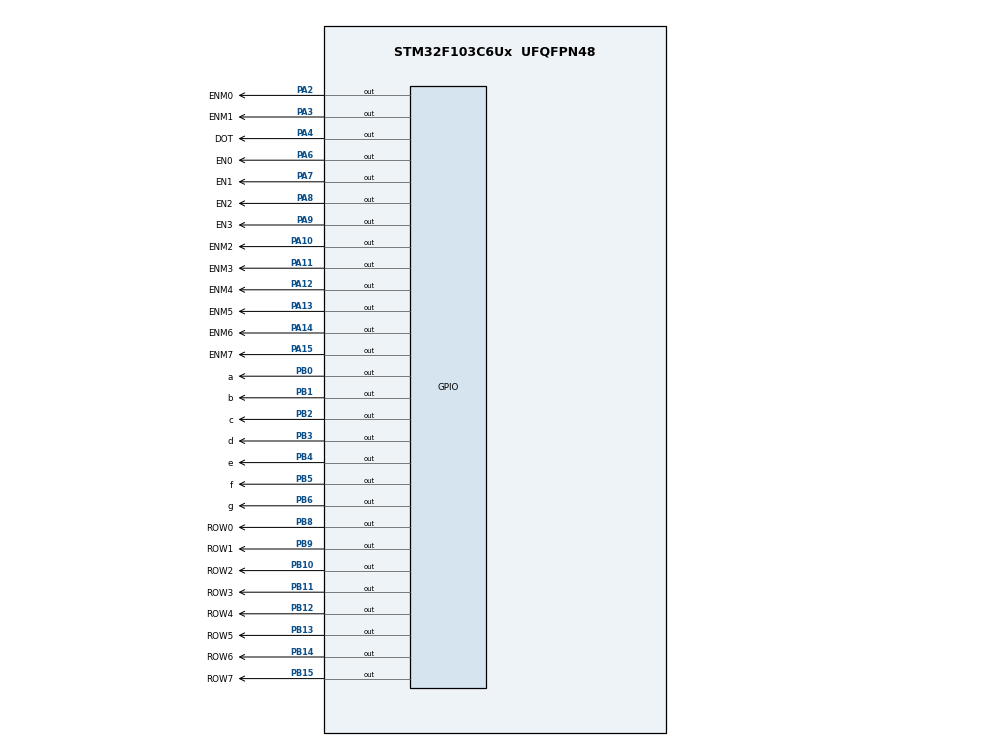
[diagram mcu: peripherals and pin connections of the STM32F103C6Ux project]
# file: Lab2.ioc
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Mcu.Family=STM32F1
Mcu.Name=STM32F103C6Ux
Mcu.Package=UFQFPN48
NVIC.PriorityGroup=NVIC_PRIORITYGROUP_4
NVIC.TIM2_IRQn=true\:0\:0\:false\:false\:true\:true\:true
PA10.GPIO_Label=ENM2
PA10.Signal=GPIO_Output
PA11.GPIO_Label=ENM3
PA11.Signal=GPIO_Output
PA12.GPIO_Label=ENM4
PA12.Signal=GPIO_Output
PA13.GPIO_Label=ENM5
PA13.Signal=GPIO_Output
PA14.GPIO_Label=ENM6
PA14.Signal=GPIO_Output
PA15.GPIO_Label=ENM7
PA15.Signal=GPIO_Output
PA2.GPIO_Label=ENM0
PA2.Signal=GPIO_Output
PA3.GPIO_Label=ENM1
PA3.Signal=GPIO_Output
PA4.GPIO_Label=DOT
PA4.Signal=GPIO_Output
PA6.GPIO_Label=EN0
PA6.Signal=GPIO_Output
PA7.GPIO_Label=EN1
PA7.Signal=GPIO_Output
PA8.GPIO_Label=EN2
PA8.Signal=GPIO_Output
PA9.GPIO_Label=EN3
PA9.Signal=GPIO_Output
PB0.GPIO_Label=a
PB0.Signal=GPIO_Output
PB1.GPIO_Label=b
PB1.Signal=GPIO_Output
PB10.GPIO_Label=ROW2
PB10.Signal=GPIO_Output
PB11.GPIO_Label=ROW3
PB11.Signal=GPIO_Output
PB12.GPIO_Label=ROW4
PB12.Signal=GPIO_Output
PB13.GPIO_Label=ROW5
PB13.Signal=GPIO_Output
PB14.GPIO_Label=ROW6
PB14.Signal=GPIO_Output
PB15.GPIO_Label=ROW7
PB15.Signal=GPIO_Output
PB2.GPIO_Label=c
PB2.Signal=GPIO_Output
PB3.GPIO_Label=d
PB3.Signal=GPIO_Output
PB4.GPIO_Label=e
PB4.Signal=GPIO_Output
PB5.GPIO_Label=f
PB5.Signal=GPIO_Output
PB6.GPIO_Label=g
PB6.Signal=GPIO_Output
PB8.GPIO_Label=ROW0
PB8.Signal=GPIO_Output
PB9.GPIO_Label=ROW1
PB9.Signal=GPIO_Output
ProjectManager.HeapSize=0x200
ProjectManager.StackSize=0x400
ProjectManager.TargetToolchain=STM32CubeIDE
RCC.APB1Freq_Value=8000000
RCC.APB2Freq_Value=8000000
TIM2.Period=9
TIM2.Prescaler=7999
VP_SYS_VS_ND.Mode=No_Debug
VP_TIM2_VS_ClockSourceINT.Mode=Internal
board=custom

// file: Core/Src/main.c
/* USER CODE BEGIN Header */
/**
  ******************************************************************************
  * @file           : main.c
  * @brief          : Main program body
  ******************************************************************************
  * @attention
  *
  * <h2><center>&copy; Copyright (c) 2023 STMicroelectronics.
  * All rights reserved.</center></h2>
  *
  * This software component is licensed by ST under BSD 3-Clause license,
  * the "License"; You may not use this file except in compliance with the
  * License. You may obtain a copy of the License at:
  *                        opensource.org/licenses/BSD-3-Clause
  *
  ******************************************************************************
  */
/* USER CODE END Header */
#include "main.h"

/* USER CODE BEGIN Includes */
#include "software_timer.h"
/* USER CODE END Includes */

TIM_HandleTypeDef htim2;

void SystemClock_Config(void);
static void MX_TIM2_Init(void);
static void MX_GPIO_Init(void);

/* USER CODE BEGIN 0 */
void display7SEG(int num){
	switch(num){
	case 0:
		HAL_GPIO_WritePin(a_GPIO_Port, a_Pin, RESET);
		HAL_GPIO_WritePin(b_GPIO_Port, b_Pin, RESET);
		HAL_GPIO_WritePin(c_GPIO_Port, c_Pin, RESET);
		HAL_GPIO_WritePin(d_GPIO_Port, d_Pin, RESET);
		HAL_GPIO_WritePin(e_GPIO_Port, e_Pin, RESET);
		HAL_GPIO_WritePin(f_GPIO_Port, f_Pin, RESET);
		HAL_GPIO_WritePin(g_GPIO_Port, g_Pin, SET);
		break;
	case 1:
		HAL_GPIO_WritePin(a_GPIO_Port, a_Pin, SET);
		HAL_GPIO_WritePin(b_GPIO_Port, b_Pin, RESET);
		HAL_GPIO_WritePin(c_GPIO_Port, c_Pin, RESET);
		HAL_GPIO_WritePin(d_GPIO_Port, d_Pin, SET);
		HAL_GPIO_WritePin(e_GPIO_Port, e_Pin, SET);
		HAL_GPIO_WritePin(f_GPIO_Port, f_Pin, SET);
		HAL_GPIO_WritePin(g_GPIO_Port, g_Pin, SET);
		break;
	case 2:
		HAL_GPIO_WritePin(a_GPIO_Port, a_Pin, RESET);
		HAL_GPIO_WritePin(b_GPIO_Port, b_Pin, RESET);
		HAL_GPIO_WritePin(c_GPIO_Port, c_Pin, SET);
		HAL_GPIO_WritePin(d_GPIO_Port, d_Pin, RESET);
		HAL_GPIO_WritePin(e_GPIO_Port, e_Pin, RESET);
		HAL_GPIO_WritePin(f_GPIO_Port, f_Pin, SET);
		HAL_GPIO_WritePin(g_GPIO_Port, g_Pin, RESET);
		break;
	case 3:
		HAL_GPIO_WritePin(a_GPIO_Port, a_Pin, RESET);
		HAL_GPIO_WritePin(b_GPIO_Port, b_Pin, RESET);
		HAL_GPIO_WritePin(c_GPIO_Port, c_Pin, RESET);
		HAL_GPIO_WritePin(d_GPIO_Port, d_Pin, RESET);
		HAL_GPIO_WritePin(e_GPIO_Port, e_Pin, SET);
		HAL_GPIO_WritePin(f_GPIO_Port, f_Pin, SET);
		HAL_GPIO_WritePin(g_GPIO_Port, g_Pin, RESET);
		break;
	case 4:
		HAL_GPIO_WritePin(a_GPIO_Port, a_Pin, SET);
		HAL_GPIO_WritePin(b_GPIO_Port, b_Pin, RESET);
		HAL_GPIO_WritePin(c_GPIO_Port, c_Pin, RESET);
		HAL_GPIO_WritePin(d_GPIO_Port, d_Pin, SET);
		HAL_GPIO_WritePin(e_GPIO_Port, e_Pin, SET);
		HAL_GPIO_WritePin(f_GPIO_Port, f_Pin, RESET);
		HAL_GPIO_WritePin(g_GPIO_Port, g_Pin, RESET);
		break;
	case 5:
		HAL_GPIO_WritePin(a_GPIO_Port, a_Pin, RESET);
		HAL_GPIO_WritePin(b_GPIO_Port, b_Pin, SET);
		HAL_GPIO_WritePin(c_GPIO_Port, c_Pin, RESET);
		HAL_GPIO_WritePin(d_GPIO_Port, d_Pin, RESET);
		HAL_GPIO_WritePin(e_GPIO_Port, e_Pin, SET);
		HAL_GPIO_WritePin(f_GPIO_Port, f_Pin, RESET);
		HAL_GPIO_WritePin(g_GPIO_Port, g_Pin, RESET);
		break;
	case 6:
		HAL_GPIO_WritePin(a_GPIO_Port, a_Pin, RESET);
		HAL_GPIO_WritePin(b_GPIO_Port, b_Pin, SET);
		HAL_GPIO_WritePin(c_GPIO_Port, c_Pin, RESET);
		HAL_GPIO_WritePin(d_GPIO_Port, d_Pin, RESET);
		HAL_GPIO_WritePin(e_GPIO_Port, e_Pin, RESET);
		HAL_GPIO_WritePin(f_GPIO_Port, f_Pin, RESET);
		HAL_GPIO_WritePin(g_GPIO_Port, g_Pin, RESET);
		break;
	case 7:
		HAL_GPIO_WritePin(a_GPIO_Port, a_Pin, RESET);
		HAL_GPIO_WritePin(b_GPIO_Port, b_Pin, RESET);
		HAL_GPIO_WritePin(c_GPIO_Port, c_Pin, RESET);
		HAL_GPIO_WritePin(d_GPIO_Port, d_Pin, SET);
		HAL_GPIO_WritePin(e_GPIO_Port, e_Pin, SET);
		HAL_GPIO_WritePin(f_GPIO_Port, f_Pin, SET);
		HAL_GPIO_WritePin(g_GPIO_Port, g_Pin, SET);
		break;
	case 8:
		HAL_GPIO_WritePin(a_GPIO_Port, a_Pin, RESET);
		HAL_GPIO_WritePin(b_GPIO_Port, b_Pin, RESET);
		HAL_GPIO_WritePin(c_GPIO_Port, c_Pin, RESET);
		HAL_GPIO_WritePin(d_GPIO_Port, d_Pin, RESET);
		HAL_GPIO_WritePin(e_GPIO_Port, e_Pin, RESET);
		HAL_GPIO_WritePin(f_GPIO_Port, f_Pin, RESET);
		HAL_GPIO_WritePin(g_GPIO_Port, g_Pin, RESET);
		break;
	case 9:
		HAL_GPIO_WritePin(a_GPIO_Port, a_Pin, RESET);
		HAL_GPIO_WritePin(b_GPIO_Port, b_Pin, RESET);
		HAL_GPIO_WritePin(c_GPIO_Port, c_Pin, RESET);
		HAL_GPIO_WritePin(d_GPIO_Port, d_Pin, RESET);
		HAL_GPIO_WritePin(e_GPIO_Port, e_Pin, SET);
		HAL_GPIO_WritePin(f_GPIO_Port, f_Pin, RESET);
		HAL_GPIO_WritePin(g_GPIO_Port, g_Pin, RESET);
		break;
	default:
		break;
	}
}

// clock information
//ex5, 6, 7
int hour = 15, minute = 8, second = 50;
void updateClockBuffer();

//update 7 SEG function prototype
//ex3, 4, 5, 6, 7
const int MAX_LED = 4;
int index_led = 0;
int led_buffer[4] = {1, 2, 3, 4};
void update7SEG(int);

//update led matrix function prototype
// ex9
const int MAX_LED_MATRIX = 8;
int index_led_matrix = 0;
uint8_t matrix_buffer[8] = {0xff, 0xc0, 0x80, 0x37, 0x37, 0x80,
		0xc0, 0xff};
void updateLEDMatrix(int);

// binaryArr is used for record binary code of all
// element in matrix_buffer
// the last bit (binaryArr[element_matrix_buffer][8]) is to
//check that the element of matrix buffer is whether be
//converted to binary or not ?
uint8_t binaryArr[8][9];

void InitbinaryArr();
void toBinary(uint8_t, int);
void setLedMatrix(int);

// variable for ex10
int shift_distance = 0;

/* USER CODE END 0 */

int main(void)
{

  /* MCU Configuration--------------------------------------------------------*/

  /* Reset of all peripherals, Initializes the Flash interface and the Systick. */
  HAL_Init();

  /* Configure the system clock */
  SystemClock_Config();

  /* Initialize all configured peripherals */
  MX_TIM2_Init();
  MX_GPIO_Init();
  /* USER CODE BEGIN 2 */
  HAL_TIM_Base_Start_IT(&htim2);

  setTimer0(1000);
  setTimer1(250);
  /* USER CODE END 2 */
  InitbinaryArr();
  /* Infinite loop */
  while (1)
  {
	  if(timer0_flag == 1){
		  setTimer0(1000);
		  second++;
		  if(second >= 60){
			  second = 0;
			  minute++;
		  }

		  if(minute >= 60){
			  minute = 0;
			  hour++;
		  }

		  if(hour >= 24){
			  hour = 0;
		  }
		  updateClockBuffer();

		  // represent four 7seg led
		  if(index_led >= MAX_LED) index_led = 0;
		  update7SEG(index_led++);

		  // toggle dot led
		  HAL_GPIO_TogglePin(DOT_GPIO_Port, DOT_Pin);
	  }

	  if(timer1_flag == 1){
		  setTimer1(250);
		  // show led matrix
		  if(index_led_matrix >= 8) index_led_matrix = 0;
		  updateLEDMatrix(index_led_matrix++);
	  }
  }
}

void SystemClock_Config(void)
{
  RCC_OscInitTypeDef RCC_OscInitStruct = {0};
  RCC_ClkInitTypeDef RCC_ClkInitStruct = {0};

  /** Initializes the RCC Oscillators according to the specified parameters
  * in the RCC_OscInitTypeDef structure.
  */
  RCC_OscInitStruct.OscillatorType = RCC_OSCILLATORTYPE_HSI;
  RCC_OscInitStruct.HSIState = RCC_HSI_ON;
  RCC_OscInitStruct.HSICalibrationValue = RCC_HSICALIBRATION_DEFAULT;
  RCC_OscInitStruct.PLL.PLLState = RCC_PLL_NONE;
  if (HAL_RCC_OscConfig(&RCC_OscInitStruct) != HAL_OK)
  {
    Error_Handler();
  }
  /** Initializes the CPU, AHB and APB buses clocks
  */
  RCC_ClkInitStruct.ClockType = RCC_CLOCKTYPE_HCLK|RCC_CLOCKTYPE_SYSCLK
                              |RCC_CLOCKTYPE_PCLK1|RCC_CLOCKTYPE_PCLK2;
  RCC_ClkInitStruct.SYSCLKSource = RCC_SYSCLKSOURCE_HSI;
  RCC_ClkInitStruct.AHBCLKDivider = RCC_SYSCLK_DIV1;
  RCC_ClkInitStruct.APB1CLKDivider = RCC_HCLK_DIV1;
  RCC_ClkInitStruct.APB2CLKDivider = RCC_HCLK_DIV1;

  if (HAL_RCC_ClockConfig(&RCC_ClkInitStruct, FLASH_LATENCY_0) != HAL_OK)
  {
    Error_Handler();
  }
}

static void MX_TIM2_Init(void)
{

  TIM_ClockConfigTypeDef sClockSourceConfig = {0};
  TIM_MasterConfigTypeDef sMasterConfig = {0};

  htim2.Instance = TIM2;
  htim2.Init.Prescaler = 7999;
  htim2.Init.CounterMode = TIM_COUNTERMODE_UP;
  htim2.Init.Period = 9;
  htim2.Init.ClockDivision = TIM_CLOCKDIVISION_DIV1;
  htim2.Init.AutoReloadPreload = TIM_AUTORELOAD_PRELOAD_DISABLE;
  if (HAL_TIM_Base_Init(&htim2) != HAL_OK)
  {
    Error_Handler();
  }
  sClockSourceConfig.ClockSource = TIM_CLOCKSOURCE_INTERNAL;
  if (HAL_TIM_ConfigClockSource(&htim2, &sClockSourceConfig) != HAL_OK)
  {
    Error_Handler();
  }
  sMasterConfig.MasterOutputTrigger = TIM_TRGO_RESET;
  sMasterConfig.MasterSlaveMode = TIM_MASTERSLAVEMODE_DISABLE;
  if (HAL_TIMEx_MasterConfigSynchronization(&htim2, &sMasterConfig) != HAL_OK)
  {
    Error_Handler();
  }

}

static void MX_GPIO_Init(void)
{
  GPIO_InitTypeDef GPIO_InitStruct = {0};

  /* GPIO Ports Clock Enable */
  __HAL_RCC_GPIOA_CLK_ENABLE();
  __HAL_RCC_GPIOB_CLK_ENABLE();

  /*Configure GPIO pin Output Level */
  HAL_GPIO_WritePin(GPIOA, ENM0_Pin|ENM1_Pin|DOT_Pin|EN0_Pin
                          |EN1_Pin|EN2_Pin|EN3_Pin|ENM2_Pin
                          |ENM3_Pin|ENM4_Pin|ENM5_Pin|ENM6_Pin
                          |ENM7_Pin, GPIO_PIN_SET);

  /*Configure GPIO pin Output Level */
  HAL_GPIO_WritePin(GPIOB, a_Pin|b_Pin|c_Pin|ROW2_Pin
                          |ROW3_Pin|ROW4_Pin|ROW5_Pin|ROW6_Pin
                          |ROW7_Pin|d_Pin|e_Pin|f_Pin
                          |g_Pin|ROW0_Pin|ROW1_Pin, GPIO_PIN_RESET);

  /*Configure GPIO pins : ENM0_Pin ENM1_Pin DOT_Pin EN0_Pin
                           EN1_Pin EN2_Pin EN3_Pin ENM2_Pin
                           ENM3_Pin ENM4_Pin ENM5_Pin ENM6_Pin
                           ENM7_Pin */
  GPIO_InitStruct.Pin = ENM0_Pin|ENM1_Pin|DOT_Pin|EN0_Pin
                          |EN1_Pin|EN2_Pin|EN3_Pin|ENM2_Pin
                          |ENM3_Pin|ENM4_Pin|ENM5_Pin|ENM6_Pin
                          |ENM7_Pin;
  GPIO_InitStruct.Mode = GPIO_MODE_OUTPUT_PP;
  GPIO_InitStruct.Pull = GPIO_NOPULL;
  GPIO_InitStruct.Speed = GPIO_SPEED_FREQ_LOW;
  HAL_GPIO_Init(GPIOA, &GPIO_InitStruct);

  /*Configure GPIO pins : a_Pin b_Pin c_Pin ROW2_Pin
                           ROW3_Pin ROW4_Pin ROW5_Pin ROW6_Pin
                           ROW7_Pin d_Pin e_Pin f_Pin
                           g_Pin ROW0_Pin ROW1_Pin */
  GPIO_InitStruct.Pin = a_Pin|b_Pin|c_Pin|ROW2_Pin
                          |ROW3_Pin|ROW4_Pin|ROW5_Pin|ROW6_Pin
                          |ROW7_Pin|d_Pin|e_Pin|f_Pin
                          |g_Pin|ROW0_Pin|ROW1_Pin;
  GPIO_InitStruct.Mode = GPIO_MODE_OUTPUT_PP;
  GPIO_InitStruct.Pull = GPIO_NOPULL;
  GPIO_InitStruct.Speed = GPIO_SPEED_FREQ_LOW;
  HAL_GPIO_Init(GPIOB, &GPIO_InitStruct);

}

/* USER CODE BEGIN 4 */

// define update7SEG function
void update7SEG(int index){
	switch(index){
	case 0:
		HAL_GPIO_WritePin(EN0_GPIO_Port, EN0_Pin, RESET);
		HAL_GPIO_WritePin(EN1_GPIO_Port, EN1_Pin, SET);
		HAL_GPIO_WritePin(EN2_GPIO_Port, EN2_Pin, SET);
		HAL_GPIO_WritePin(EN3_GPIO_Port, EN3_Pin, SET);
		display7SEG(led_buffer[0]);
		break;
	case 1:
		HAL_GPIO_WritePin(EN0_GPIO_Port, EN0_Pin, SET);
		HAL_GPIO_WritePin(EN1_GPIO_Port, EN1_Pin, RESET);
		HAL_GPIO_WritePin(EN2_GPIO_Port, EN2_Pin, SET);
		HAL_GPIO_WritePin(EN3_GPIO_Port, EN3_Pin, SET);
		display7SEG(led_buffer[1]);
		break;
	case 2:
		HAL_GPIO_WritePin(EN0_GPIO_Port, EN0_Pin, SET);
		HAL_GPIO_WritePin(EN1_GPIO_Port, EN1_Pin, SET);
		HAL_GPIO_WritePin(EN2_GPIO_Port, EN2_Pin, RESET);
		HAL_GPIO_WritePin(EN3_GPIO_Port, EN3_Pin, SET);
		display7SEG(led_buffer[2]);
		break;
	case 3:
		HAL_GPIO_WritePin(EN0_GPIO_Port, EN0_Pin, SET);
		HAL_GPIO_WritePin(EN1_GPIO_Port, EN1_Pin, SET);
		HAL_GPIO_WritePin(EN2_GPIO_Port, EN2_Pin, SET);
		HAL_GPIO_WritePin(EN3_GPIO_Port, EN3_Pin, RESET);
		display7SEG(led_buffer[3]);
		break;
	default:
		break;
	}
}

// define update clock buffer
void updateClockBuffer(){
	led_buffer[0] = hour / 10;
	led_buffer[1] = hour % 10;
	led_buffer[2] = minute / 10;
	led_buffer[3] = minute % 10;
}

// define Init binary array function
void InitbinaryArr(){
	int col = 8, row = 9;
	for(int i = 0; i < col; i++){
		for(int j = 0; j < row; j ++){
			binaryArr[i][j] = 0;
		}
	}
}

// define toBinary function
void toBinary(uint8_t value, int col){
	int size = 8;
	for(int i = size - 1; i >= 0 ; i--){
		binaryArr[col][size - 1 - i] = (value >> i) & 1;
	}
}

// define set Led Matrix function
// exactly set row led
void setLedMatrix(int col){
	HAL_GPIO_WritePin(ROW0_GPIO_Port, ROW0_Pin, binaryArr[col][0]);
	HAL_GPIO_WritePin(ROW1_GPIO_Port, ROW1_Pin, binaryArr[col][1]);
	HAL_GPIO_WritePin(ROW2_GPIO_Port, ROW2_Pin, binaryArr[col][2]);
	HAL_GPIO_WritePin(ROW3_GPIO_Port, ROW3_Pin, binaryArr[col][3]);
	HAL_GPIO_WritePin(ROW4_GPIO_Port, ROW4_Pin, binaryArr[col][4]);
	HAL_GPIO_WritePin(ROW5_GPIO_Port, ROW5_Pin, binaryArr[col][5]);
	HAL_GPIO_WritePin(ROW6_GPIO_Port, ROW6_Pin, binaryArr[col][6]);
	HAL_GPIO_WritePin(ROW7_GPIO_Port, ROW7_Pin, binaryArr[col][7]);
}

// define update Matrix led function
void updateLEDMatrix(int index){
	switch(index){
		case 0:
			HAL_GPIO_WritePin(ENM7_GPIO_Port,ENM7_Pin, SET);
			HAL_GPIO_WritePin(ENM0_GPIO_Port, ENM0_Pin, RESET);
			break;
		case 1:
			HAL_GPIO_WritePin(ENM0_GPIO_Port, ENM0_Pin, SET);
			HAL_GPIO_WritePin(ENM1_GPIO_Port, ENM1_Pin, RESET);
			break;
		case 2:
			HAL_GPIO_WritePin(ENM1_GPIO_Port, ENM1_Pin, SET);
			HAL_GPIO_WritePin(ENM2_GPIO_Port, ENM2_Pin, RESET);
			break;
		case 3:
			HAL_GPIO_WritePin(ENM2_GPIO_Port, ENM2_Pin, SET);
			HAL_GPIO_WritePin(ENM3_GPIO_Port, ENM3_Pin, RESET);
			break;
		case 4:
			HAL_GPIO_WritePin(ENM3_GPIO_Port, ENM3_Pin, SET);
			HAL_GPIO_WritePin(ENM4_GPIO_Port, ENM4_Pin, RESET);
			break;
		case 5:
			HAL_GPIO_WritePin(ENM4_GPIO_Port, ENM4_Pin, SET);
			HAL_GPIO_WritePin(ENM5_GPIO_Port, ENM5_Pin, RESET);
			break;
		case 6:
			HAL_GPIO_WritePin(ENM5_GPIO_Port, ENM5_Pin, SET);
			HAL_GPIO_WritePin(ENM6_GPIO_Port, ENM6_Pin, RESET);
			break;
		case 7:
			HAL_GPIO_WritePin(ENM6_GPIO_Port, ENM6_Pin, SET);
			HAL_GPIO_WritePin(ENM7_GPIO_Port, ENM7_Pin, RESET);
			break;
		default:
			break;
	}
	// if first time convert to binary --> call binary function
	if(binaryArr[index][8] == 0){
		toBinary(matrix_buffer[index], index);
		// set last bit to 1 --> be saved to Array, not need to reconvert
		binaryArr[index][8] = 1;
	}
	else{
		if(index == 0) shift_distance = (shift_distance + 1) % 8;
	}
	// else call from binaryArr, not need to reconvert to binary
	setLedMatrix((index + shift_distance) % 8);
}
void HAL_TIM_PeriodElapsedCallback(TIM_HandleTypeDef *htim){
	timer_run0();
	timer_run1();
}
/* USER CODE END 4 */

void Error_Handler(void)
{
  __disable_irq();
  while (1)
  {
  }
}

/************************ (C) COPYRIGHT STMicroelectronics *****END OF FILE****/
